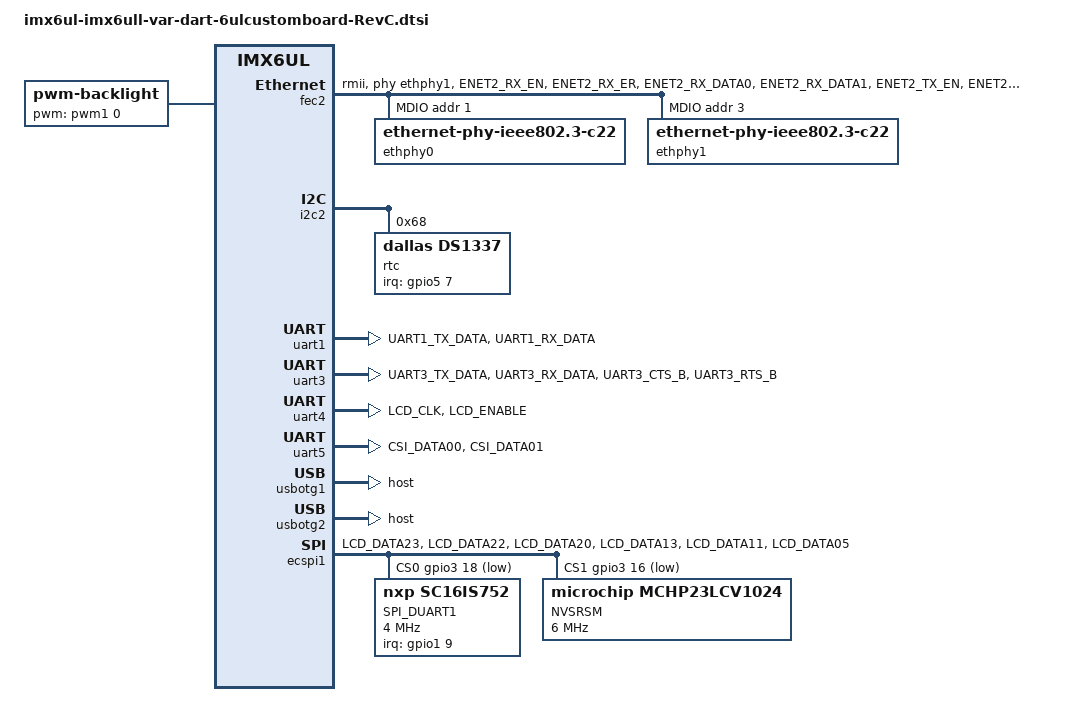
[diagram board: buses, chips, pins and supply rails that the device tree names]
/*
 * Copyright (C) 2015-2019 Variscite Ltd. - https://www.variscite.com
 *
 * This program is free software; you can redistribute it and/or modify
 * it under the terms of the GNU General Public License version 2 as
 * published by the Free Software Foundation.
 */

/ {
	backlight {
		compatible = "pwm-backlight";
		pwms = <&pwm1 0 20000>;
		brightness-levels = <0 4 8 16 32 64 128 255>;
		default-brightness-level = <6>;
		status = "okay";
	};

	chosen {
		stdout-path = &uart1;
	};
};

&fec1 {
	pinctrl-0 = <&pinctrl_enet1>, <&pinctrl_enet1_gpio>;
	/delete-node/ mdio;
};

&fec2 {
	pinctrl-names = "default";
	pinctrl-0 = <&pinctrl_enet2>, <&pinctrl_enet2_gpio>, <&pinctrl_enet2_mdio>;
	phy-mode = "rmii";
	phy-handle = <&ethphy1>;
	phy-reset-gpios=<&gpio1 10 GPIO_ACTIVE_LOW>;
	phy-reset-duration=<100>;
	status = "okay";

	mdio {
		#address-cells = <1>;
		#size-cells = <0>;

		ethphy0: ethernet-phy@1 {
			compatible = "ethernet-phy-ieee802.3-c22";
			micrel,rmii-reference-clock-select-25-mhz;
			micrel,led-mode = <1>;
			clocks = <&rmii_ref_clk>;
			clock-names = "rmii-ref";
			reg = <1>;
		};

		ethphy1: ethernet-phy@3 {
			compatible = "ethernet-phy-ieee802.3-c22";
			micrel,rmii-reference-clock-select-25-mhz;
			micrel,led-mode = <1>;
			clocks = <&rmii_ref_clk>;
			clock-names = "rmii-ref";
			reg = <3>;
		};
	};
};

&i2c2 {
	/* DS1337 RTC module */
	rtc@68 {
		compatible = "dallas,ds1337";
		reg = <0x68>;
		pinctrl-names = "default";
		pinctrl-0 = <&pinctrl_rtc>;
		interrupt-parent = <&gpio5>;
		interrupts = <7 IRQ_TYPE_EDGE_FALLING>;
	};
};

&iomuxc {
	pinctrl_hog_hog_10: hoggrp-10 {
		fsl,pins = <
			/* gpios */
			MX6UL_PAD_SNVS_TAMPER5__GPIO5_IO05	0x5800A0 /* SCC_AB */
			MX6UL_PAD_SNVS_TAMPER3__GPIO5_IO03	0x5800A0 /* SCC_DC */
			MX6UL_PAD_LCD_DATA02__GPIO3_IO07	0x5800A0 /* SCC_CE */
			MX6UL_PAD_LCD_DATA16__GPIO3_IO21	0x5800A0 /* SCC_D4 */
			MX6UL_PAD_LCD_DATA18__GPIO3_IO23	0x5800A0 /* SCC_D6 */
			MX6UL_PAD_LCD_DATA17__GPIO3_IO22	0x5800A0 /* SCC_D5 */
			MX6UL_PAD_LCD_DATA14__GPIO3_IO19	0x5800A0 /* SCC_D2 */
			MX6UL_PAD_LCD_DATA12__GPIO3_IO17	0x5800A0 /* SCC_D1 */
			MX6UL_PAD_LCD_DATA08__GPIO3_IO13	0x5800A0 /* SCC_D0 */
			MX6UL_PAD_LCD_DATA04__GPIO3_IO09	0x5800A0 /* GPS_RESET */
			MX6UL_PAD_LCD_DATA19__GPIO3_IO24	0x5800A0 /* SCC_D7 */
			MX6UL_PAD_LCD_DATA15__GPIO3_IO20	0x5800A0 /* SCC_D3 */
			MX6UL_PAD_LCD_DATA01__GPIO3_IO06	0x5800A0 /* SCC_RD */
			MX6UL_PAD_LCD_DATA03__GPIO3_IO08	0x5800A0 /* SCC_WR */
			MX6UL_PAD_LCD_DATA00__GPIO3_IO05	0x5800A0 /* SCC_INTACK */
			MX6UL_PAD_LCD_DATA10__GPIO3_IO15	0x5800A0 /* SCC_DIR */
			MX6UL_PAD_LCD_RESET__GPIO3_IO04		0x5800A0 /* SCC_IEO */
			MX6UL_PAD_CSI_PIXCLK__GPIO4_IO18	0x5800A0 /* HOST_USB_PWR_SW */
			MX6UL_PAD_CSI_MCLK__GPIO4_IO17		0x5800A0 /* HOST_USB_OVCR */
			MX6UL_PAD_GPIO1_IO05__GPIO1_IO05	0x5800A0 /* SP1_DCD */
			MX6UL_PAD_SNVS_TAMPER7__GPIO5_IO07	0x5800A0 /* RTC_IRQ */
			MX6UL_PAD_SNVS_TAMPER8__GPIO5_IO08	0x5800A0 /* HOST_LINESYNC */
			MX6UL_PAD_SNVS_TAMPER9__GPIO5_IO09	0x5800A0 /* PCA9555_INT */
			MX6UL_PAD_UART4_TX_DATA__GPIO1_IO28	0x5800A0 /* SCC_INT */
			MX6UL_PAD_GPIO1_IO01__GPIO1_IO01	0x5800A0 /* ENGX_USB_OVRC */
			MX6UL_PAD_GPIO1_IO02__GPIO1_IO02	0x5800A0 /* SPI_DUART_RESET */
			MX6UL_PAD_GPIO1_IO04__GPIO1_IO04	0x5800A0 /* ENGX_USB_VBUSCTRL */
			MX6UL_PAD_GPIO1_IO00__GPIO1_IO00	0x5800A0 /* ADC0.0 */
			MX6UL_PAD_SNVS_TAMPER1__GPIO5_IO01	0x5800A0 /* SP2_DCD */
			MX6UL_PAD_LCD_VSYNC__GPIO3_IO03		0x5800A0 /* UART4 DCE RTS */
			MX6UL_PAD_LCD_HSYNC__GPIO3_IO02		0x5800A0 /* UART4 DCE CTS */
			MX6UL_PAD_CSI_DATA03__GPIO4_IO24	0x5800A0 /* UART5 DCE CTS */
			MX6UL_PAD_CSI_DATA02__GPIO4_IO23	0x5800A0 /* UART5 DCE RTS */
		>;
	};

	pinctrl_enet2: enet2grp {
		fsl,pins = <
			MX6UL_PAD_ENET2_RX_EN__ENET2_RX_EN	0x1b0b0
			MX6UL_PAD_ENET2_RX_ER__ENET2_RX_ER	0x1b0b0
			MX6UL_PAD_ENET2_RX_DATA0__ENET2_RDATA00	0x1b0b0
			MX6UL_PAD_ENET2_RX_DATA1__ENET2_RDATA01	0x1b0b0
			MX6UL_PAD_ENET2_TX_EN__ENET2_TX_EN	0x1b0b0
			MX6UL_PAD_ENET2_TX_DATA0__ENET2_TDATA00	0x1b0b0
			MX6UL_PAD_ENET2_TX_DATA1__ENET2_TDATA01	0x1b0b0
			MX6UL_PAD_ENET2_TX_CLK__ENET2_REF_CLK2	0x4001b031
		>;
	};

	pinctrl_enet2_gpio: enet2_gpiogrp {
		fsl,pins = <
			MX6UL_PAD_JTAG_MOD__GPIO1_IO10		0x1b0b0 /* fec2 reset */
		>;
	};

	pinctrl_enet2_mdio: enet2_mdiogrp {
		fsl,pins = <
			MX6UL_PAD_GPIO1_IO06__ENET2_MDIO	0x1b0b0
			MX6UL_PAD_GPIO1_IO07__ENET2_MDC		0x1b0b0
		>;
	};

	pinctrl_uart1: uart1grp {
		fsl,pins = <
			MX6UL_PAD_UART1_TX_DATA__UART1_DCE_TX   0x1b0b1
			MX6UL_PAD_UART1_RX_DATA__UART1_DCE_RX   0x1b0b1
		>;
	};

	pinctrl_uart3: uart3grp {
		fsl,pins = <
			MX6UL_PAD_UART3_TX_DATA__UART3_DCE_TX	0x1b0b1
			MX6UL_PAD_UART3_RX_DATA__UART3_DCE_RX	0x1b0b1
			MX6UL_PAD_UART3_CTS_B__UART3_DCE_CTS	0x1b0b1
			MX6UL_PAD_UART3_RTS_B__UART3_DCE_RTS	0x1b0b1
		>;
	};

	pinctrl_uart4: uart4grp {
		fsl,pins = <
			MX6UL_PAD_LCD_CLK__UART4_DCE_TX		0x1b0b1
			MX6UL_PAD_LCD_ENABLE__UART4_DCE_RX	0x1b0b1
		>;
	};

	pinctrl_uart5: uart5grp {
		fsl,pins = <
			MX6UL_PAD_CSI_DATA00__UART5_DCE_TX	0x1b0b1
			MX6UL_PAD_CSI_DATA01__UART5_DCE_RX	0x1b0b1
		>;
	};

	pinctrl_wdog: wdoggrp {
		fsl,pins = <
			MX6UL_PAD_GPIO1_IO08__WDOG1_WDOG_B	0x78b0
		>;
	};

	pinctrl_ecspi1: ecspi1grp {
		fsl,pins = <
			MX6UL_PAD_LCD_DATA23__ECSPI1_MISO	0x100b1
			MX6UL_PAD_LCD_DATA22__ECSPI1_MOSI	0x100b1
			MX6UL_PAD_LCD_DATA20__ECSPI1_SCLK	0x100b1
		>;
	};

	pinctrl_ecspi1_duart1_cs: ecspi1_cs0 {
		fsl,pins = <
			MX6UL_PAD_LCD_DATA13__GPIO3_IO18	0x100b1 /* SPI_DUART1_CS */
		>;
	};

	pinctrl_ecspi1_nvsram_cs: ecspi1_cs2 {
		fsl,pins = <
			MX6UL_PAD_LCD_DATA11__GPIO3_IO16	0x100b1 /* NVSRAM_CS */
		>;
	};

	pinctrl_ecspi1_ss1_cs: ecspi1_cs3 {
		fsl,pins = <
			MX6UL_PAD_LCD_DATA05__GPIO3_IO10	0x100b1 /* ECSPI1_SS1 */
		>;
	};
};

&snvs_rtc {
	status = "disabled";
};

/* Console UART */
&uart1 {
	pinctrl-names = "default";
	pinctrl-0 = <&pinctrl_uart1>;
	status = "okay";
};

/* ttymxc2 UART */
&uart3 {
	pinctrl-names = "default";
	pinctrl-0 = <&pinctrl_uart3>;
	fsl,uart-has-rtscts;
	status = "okay";
};

/* ttymxc3 UART */
&uart4 {
	pinctrl-names = "default";
	pinctrl-0 = <&pinctrl_uart4>;
	status = "okay";
};

/* ttymxc4 UART */
&uart5 {
	pinctrl-names = "default";
	pinctrl-0 = <&pinctrl_uart5>;
	status = "okay";
};

&usbotg1 {
	dr_mode = "host";
	status = "okay";
};

&usbotg2 {
	dr_mode = "host";
	status = "okay";
};

&wdog1 {
	pinctrl-names = "default";
	pinctrl-0 = <&pinctrl_wdog>;
	fsl,ext-reset-output;
};

&ecspi1 {
	fsl,spi-num-chipselects = <3>;
	cs-gpios =	<&gpio3 18 1>,
			<&gpio3 16 1>,
			<&gpio3 10 1>;
	pinctrl-names = "default";
	pinctrl-0 = <
		&pinctrl_ecspi1
		&pinctrl_ecspi1_duart1_cs
		&pinctrl_ecspi1_nvsram_cs
		&pinctrl_ecspi1_ss1_cs
		>;
	status = "okay";

	SPI_DUART1: sc16is752@0 {
		compatible = "nxp,sc16is752";
		reg = <0>;
		clocks = <&sc16is752_clk0>;
		interrupt-parent = <&gpio1>;
		interrupts = <9 IRQ_TYPE_EDGE_FALLING>;
		spi-max-frequency = <4000000>;
		sc16is752_clk0: sc16is752_0_clk {
			compatible = "fixed-clock";
			#clock-cells = <0>;
			clock-frequency = <11059200>;
		};
	};

	NVSRSM: spi_sram@1 {
		#address-cells = <1>;
		#size-cells = <1>;
		compatible = "microchip,mchp23lcv1024";
		reg = <1>;
		spi-max-frequency = <6000000>;
		status = "okay";
	};

	ECSPI1_SS1: spidev@1 {
		compatible = "spidev";
		spi-max-frequency = <6000000>;
		reg = <2>;
		interrupt-parent = <&gpio1>;
		interrupts = <29 IRQ_TYPE_EDGE_FALLING>;
		status = "disable";
	};
};
